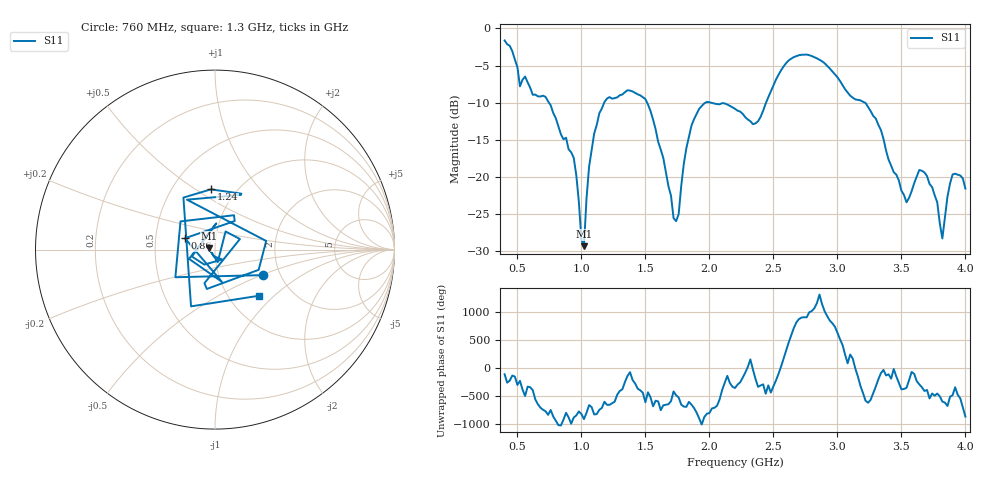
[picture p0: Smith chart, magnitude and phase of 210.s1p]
!Created with skrf (http://scikit-rf.org).
# Hz S RI R 50.0
!freq ReS11 ImS11
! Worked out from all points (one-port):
!   181 points, 400 MHz to 4 GHz, reference 50 ohm
!   lowest |S11| = -29.3 dB at 1.02 GHz (marker M1), VSWR 1.07, Z = 46.7 + j0.585 ohm
!   |S11| at or under -10 dB: 1.513 GHz to 1.97 GHz (456.8 MHz wide, 26.2 % of centre); 2.011 GHz to 2.443 GHz (431.3 MHz wide, 19.4 % of centre); 3.215 GHz to end of sweep (the widest 3 of 4)
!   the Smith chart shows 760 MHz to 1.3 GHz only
!   S11 on the Smith chart (normalised r, x): 760 MHz: 1.63, -0.51; 860 MHz: 0.71, +0.09; 1.24 GHz: 0.77, +0.58; 1.3 GHz: 1.37, -0.81
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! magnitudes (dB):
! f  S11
! 400 MHz  -1.6
! 520 MHz  -7.8
! 760 MHz  -10.4
! 860 MHz  -14.9
! 940 MHz  -17.4
! 1 GHz  -28.4
! 1.02 GHz  -29.3
! 1.06 GHz  -18.6
! 1.1 GHz  -14.1
! 1.24 GHz  -9.5
! 1.3 GHz  -9.0
! 1.5 GHz  -9.5
! 1.64 GHz  -17.5
! 1.72 GHz  -25.6
! 1.76 GHz  -25.0
! 1.82 GHz  -16.1
! 1.92 GHz  -10.8
! 2.2 GHz  -10.8
! 2.38 GHz  -12.5
! 2.66 GHz  -3.9
! 3.1 GHz  -9.1
! 3.3 GHz  -12.1
! 3.56 GHz  -22.8
! 3.68 GHz  -19.4
! 3.78 GHz  -23.4
! 3.82 GHz  -28.3
! 3.9 GHz  -19.7
! 4 GHz  -21.6
